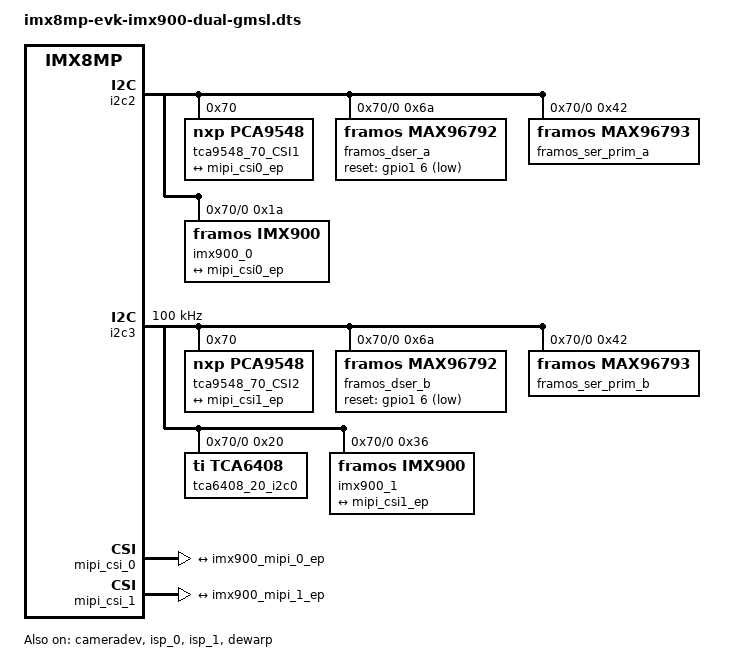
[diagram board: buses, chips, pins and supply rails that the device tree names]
// SPDX-License-Identifier: (GPL-2.0+ OR MIT)
/*
 * Copyright 2024 Framos
 *
 * This program is free software; you can redistribute it and/or
 * modify it under the terms of the GNU General Public License
 * as published by the Free Software Foundation; either version 2
 * of the License, or (at your option) any later version.
 *
 * This program is distributed in the hope that it will be useful,
 * but WITHOUT ANY WARRANTY; without even the implied warranty of
 * MERCHANTABILITY or FITNESS FOR A PARTICULAR PURPOSE.  See the
 * GNU General Public License for more details.
 */

/dts-v1/;

#include "imx8mp-evk.dts"

#define CAMERA_I2C_MUX_BUS(x) (0x1E + x)

/* TCA6408 Pxx bus-port define*/
#define SLAMODE0	0

/delete-node/ &flexcan2; //flexcan2 enable signal in collision with GPIO expander on Framos FPA

&i2c2 {
	/delete-node/ov5640_mipi@3c;

	tca9548_70_CSI1: tca9548@70 {
		compatible = "nxp,pca9548";
		reg = <0x70>;
		#address-cells = <1>;
		#size-cells = <0>;
		skip_mux_detect;
		force_bus_start = <CAMERA_I2C_MUX_BUS(0)>;

		i2c@0 {
			reg = <0>;
			i2c-mux,deselect-on-exit;
			#address-cells = <1>;
			#size-cells = <0>;
			status = "okay";

			framos_dser_a: max96792_a@6a {
				compatible = "framos,max96792";
				reg = <0x6a>;
				csi-mode = "2x4";
				max-src = <1>;
				reset-gpios = <&gpio1 6 GPIO_ACTIVE_LOW>;
			};
			framos_ser_prim_a: max96793_prim_a@42 { //i2c serializer physical address
				compatible = "framos,max96793";
				reg = <0x42>;
				gmsl-dser-device = <&framos_dser_a>;
				is-prim-ser;
			};

			imx900_0: imx900_mipi@1a {
				compatible = "framos,imx900";
				reg = <0x1a>;
				def-addr = <0x1a>;
				gmsl = "gmsl";
				pinctrl-names = "default";
				pinctrl-0 = <&pinctrl_csi0_pwn>, <&pinctrl_csi0_rst>, <&pinctrl_csi_mclk>;
				clocks = <&clk IMX8MP_CLK_IPP_DO_CLKO2>;
				clock-names = "csi_mclk";
				gmsl-ser-device = <&framos_ser_prim_a>;
				gmsl-dser-device = <&framos_dser_a>;
				csi_id = <0>;
				mipi_csi;
				status = "okay";

				port {
					imx900_mipi_0_ep: endpoint {
						remote-endpoint = <&mipi_csi0_ep>;
						data-lanes = <1 2 3 4>;
						clock-lanes = <0>;
						max-pixel-frequency = /bits/ 64 <266000000>;
					};
				};
				gmsl-link {
					src-csi-port = "b";
					dst-csi-port = "a";
					serdes-csi-link = "a";
					csi-mode = "1x4";
					st-vc = <0>;
					vc-id = <0>;
					num-lanes = <4>;
					streams = "raw12";
				};
			};
		};
	};
};

&i2c3 {
	clock-frequency = <100000>;
	pinctrl-names = "default";
	pinctrl-0 = <&pinctrl_i2c3>;
	status = "okay";

	/delete-node/gpio@20;
	/delete-node/ov5640_mipi@3c;

	tca9548_70_CSI2: tca9548@70 {
		compatible = "nxp,pca9548";
		reg = <0x70>;
		#address-cells = <1>;
		#size-cells = <0>;
		skip_mux_detect;
		force_bus_start = <CAMERA_I2C_MUX_BUS(0)>;

		i2c@0 {
			reg = <0>;
			i2c-mux,deselect-on-exit;
			#address-cells = <1>;
			#size-cells = <0>;
			status = "okay";

			framos_dser_b: max96792_b@6a {
				compatible = "framos,max96792";
				reg = <0x6a>;
				csi-mode = "2x4";
				max-src = <1>;
				reset-gpios = <&gpio1 6 GPIO_ACTIVE_LOW>;
			};
			framos_ser_prim_b: max96793_prim_b@42 { //i2c serializer physical address
				compatible = "framos,max96793";
				reg = <0x42>;
				gmsl-dser-device = <&framos_dser_b>;
				is-prim-ser;
			};

			tca6408_20_i2c0: tca6408@20 {
				compatible = "ti,tca6408";
				gpio-controller;
				#gpio-cells = <2>;
				reg = <0x20>;
				status = "okay";
			};

			imx900_1: imx900_mipi@36 {
				compatible = "framos,imx900";
				reg = <0x36>;
				def-addr = <0x36>;
				gmsl = "gmsl";
				clocks = <&clk IMX8MP_CLK_IPP_DO_CLKO2>;
				clock-names = "csi_mclk";
				gmsl-ser-device = <&framos_ser_prim_b>;
				gmsl-dser-device = <&framos_dser_b>;
				csi_id = <1>;
				status = "okay";

				port {
					imx900_mipi_1_ep: endpoint {
						remote-endpoint = <&mipi_csi1_ep>;
						data-lanes = <1 2 3 4>;
						clock-lanes = <0>;
						max-pixel-frequency = /bits/ 64 <266000000>;
					};
				};
				gmsl-link {
					src-csi-port = "b";
					dst-csi-port = "a";
					serdes-csi-link = "a";
					csi-mode = "1x4";
					st-vc = <0>;
					vc-id = <0>;
					num-lanes = <4>;
					streams = "raw12";
				};

			};
		};
	};
};

&cameradev {
	status = "okay";
};

&isi_0 {
	status = "disabled";
};

&isi_1 {
	status = "disabled";
};

&isp_0 {
	status = "okay";
};

&isp_1 {
	status = "okay";
};

&dewarp {
	status = "okay";
};

&mipi_csi_0 {
	status = "okay";
	clock-frequency = <266000000>;
	assigned-clock-parents = <&clk IMX8MP_SYS_PLL1_266M>;
	assigned-clock-rates = <266000000>;

	port {
		mipi_csi0_ep: endpoint {
			remote-endpoint = <&imx900_mipi_0_ep>;
			data-lanes = <4>;
			csis-hs-settle = <13>;
			csis-clk-settle = <2>;
			csis-wclk;
		};
	};
};

&mipi_csi_1 {
	#address-cells = <1>;
	#size-cells = <0>;
	status = "okay";

	port@1 {
		reg = <1>;
		mipi_csi1_ep: endpoint {
			remote-endpoint = <&imx900_mipi_1_ep>;
			data-lanes = <4>;
			csis-hs-settle = <13>;
			csis-clk-settle = <2>;
			csis-wclk;
		};
	};
};
